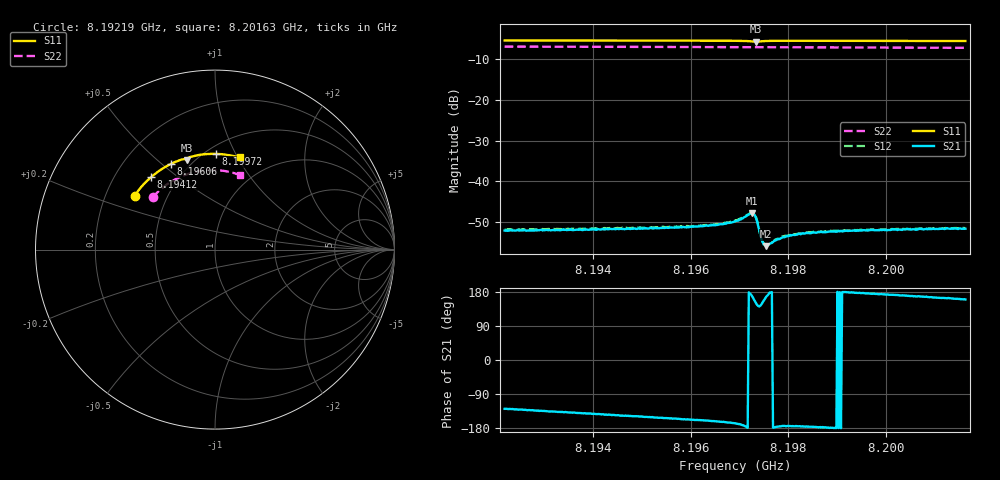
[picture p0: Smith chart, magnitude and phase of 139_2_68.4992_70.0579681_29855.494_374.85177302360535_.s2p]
#  HZ  S  RI  R  50.00
! Rohde & Schwarz Vector Network Analyzer
! Rohde-Schwarz,ZNB20-2Port,1311601062101988,3.16
! Created: UTC 3/20/2024, 5:09:56 PM
! freq[Hz]  re:S11  im:S11  re:S21  im:S21  re:S12  im:S12  re:S22  im:S22
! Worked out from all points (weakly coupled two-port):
!   401 points, 8.19219 GHz to 8.20163 GHz, reference 50 ohm
!   highest |S21| = -47.85 dB at 8.19726 GHz (marker M1); lowest = -55.9 dB at 8.19755 GHz (marker M2)
!   lowest |S11| = -5.7 dB at 8.19733 GHz (marker M3), VSWR 3.18, Z = 23 + j31.3 ohm
!   |S11| at or under -10 dB: nowhere
!   |S22| runs from -7.2 to -6.9 dB; largest |S21 - S12| = 0.00023
!   S11 on the Smith chart (normalised r, x): 8.19219 GHz: 0.32, +0.28; 8.19412 GHz: 0.35, +0.40; 8.19606 GHz: 0.40, +0.54; 8.19972 GHz: 0.56, +0.84; 8.20163 GHz: 0.71, +1.02
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8.192185e9  -0.4478 0.3012  -0.00156 -0.00193  -0.00165 -0.00196  -0.3465 0.2929
8.193768e9  -0.3758 0.3859  -0.00195 -0.00161  -0.00204 -0.00158  -0.282 0.3529
8.194122e9  -0.3573 0.4027  -0.00204 -0.00157  -0.00216 -0.00154  -0.2659 0.3644
8.19535e9  -0.2876 0.4542  -0.00235 -0.00122  -0.00242 -0.00117  -0.2064 0.3991
8.196058e9  -0.2435 0.4783  -0.00256 -0.00105  -0.00264 -0.00097  -0.17 0.4147
8.196625e9  -0.2059 0.4948  -0.00286 -0.000855  -0.00293 -0.000769  -0.1395 0.4248
8.196908e9  -0.1857 0.5017  -0.00314 -0.000727  -0.00325 -0.000613  -0.1243 0.4291
8.197215e9  -0.1603 0.5033  -0.00399 0.000308  -0.00403 0.000479  -0.1072 0.4329
8.197263e9  -0.157 0.5007  -0.00396 0.000861  -0.00399 0.00106  -0.1046 0.4334
8.19731e9  -0.1561 0.4978  -0.00355 0.00153  -0.00356 0.00172  -0.1021 0.4338
8.197334e9  -0.1569 0.4969  -0.00317 0.00174  -0.00315 0.00193  -0.101 0.4341
8.197452e9  -0.1586 0.5033  -0.00162 0.00105  -0.00162 0.00114  -0.0945 0.4355
8.197475e9  -0.1574 0.5051  -0.00159 0.000834  -0.00154 0.00094  -0.0934 0.4358
8.197499e9  -0.156 0.5067  -0.00154 0.000646  -0.00155 0.000733  -0.0919 0.4361
8.197546e9  -0.1527 0.5095  -0.00155 0.000369  -0.00164 0.000437  -0.0894 0.4366
8.197617e9  -0.1473 0.5125  -0.0017 6.3e-05  -0.00172 0.000178  -0.0854 0.4373
8.197782e9  -0.1347 0.5172  -0.00194 -0.000141  -0.00198 -7.36e-05  -0.076 0.4387
8.197995e9  -0.119 0.5214  -0.0021 -0.000237  -0.00216 -0.000146  -0.0641 0.4404
8.198491e9  -0.0835 0.528  -0.00235 -0.000156  -0.00235 -5.46e-05  -0.0361 0.4426
8.199719e9  0.0036 0.5334  -0.00251 0.000235  -0.00252 0.000323  0.0335 0.4407
8.200073e9  0.0286 0.5321  -0.0025 0.000349  -0.00253 0.000467  0.0536 0.4378
8.201632e9  0.1371 0.5132  -0.00245 0.000905  -0.00246 0.00102  0.1394 0.4153
